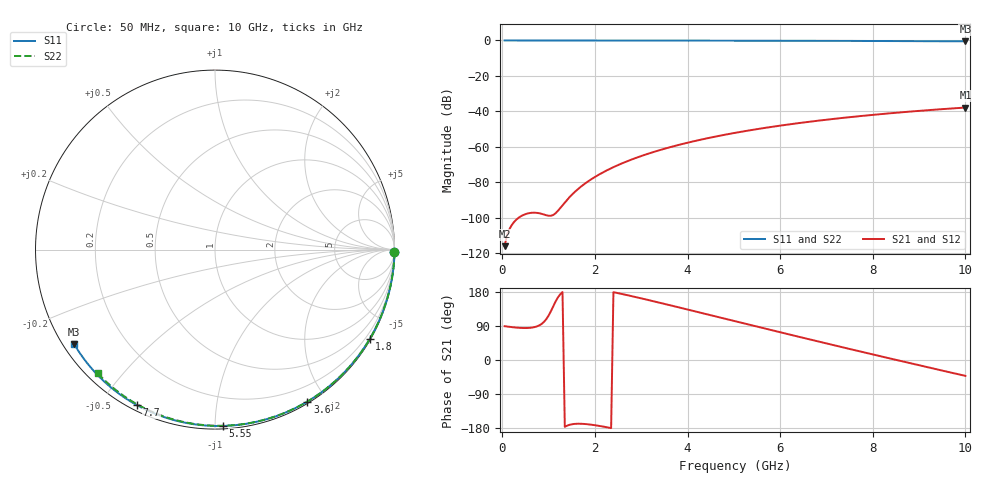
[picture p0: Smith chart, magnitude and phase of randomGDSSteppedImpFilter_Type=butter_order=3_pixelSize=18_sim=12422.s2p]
! freq	dB(S11)	phase(S11)	dB(S12)	phase(S12)
!  dB(S21)	phase(S21)	dB(S22)	phase(S22)
!S-par simulation data
#  GHz  S  DB  R 50
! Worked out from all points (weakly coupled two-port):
!   200 points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, 50 MHz to 10 GHz, reference 50 ohm
!   highest |S21| = -37.89 dB at 10 GHz (marker M1); lowest = -116.2 dB at 50 MHz (marker M2)
!   lowest |S11| = -0.5 dB at 10 GHz (marker M3), VSWR 35.21, Z = 1.55 - j15.2 ohm
!   |S11| at or under -10 dB: nowhere
!   |S22| runs from -0.5 to 0.0 dB; largest |S21 - S12| = 0
!   S11 on the Smith chart (normalised r, x): 50 MHz: open; 1.8 GHz: 0.03, -3.72; 3.6 GHz: 0.02, -1.78; 5.55 GHz: 0.02, -1.05; 7.7 GHz: 0.02, -0.62; 10 GHz: 0.03, -0.30
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0.05  -0.00 -0.9  -116.17 89.2  -116.17 89.2  -0.00 -0.8
0.45  -0.01 -7.6  -98.61 84.4  -98.61 84.4  -0.01 -6.9
0.9  -0.02 -15.2  -98.30 100.5  -98.30 100.5  -0.02 -13.8
1.3  -0.03 -21.9  -93.05 179.3  -93.05 179.3  -0.02 -19.8
1.75  -0.04 -29.3  -81.51 -168.6  -81.51 -168.6  -0.03 -26.5
1.8  -0.04 -30.1  -80.54 -169.0  -80.54 -169.0  -0.03 -27.3
1.85  -0.04 -30.9  -79.62 -169.6  -79.62 -169.6  -0.04 -28.0
2.05  -0.04 -34.2  -76.31 -173.0  -76.31 -173.0  -0.04 -31.0
2.2  -0.05 -36.6  -74.14 -176.2  -74.14 -176.2  -0.04 -33.2
2.55  -0.05 -42.3  -69.80 175.1  -69.80 175.1  -0.05 -38.3
2.95  -0.06 -48.6  -65.72 164.1  -65.72 164.1  -0.06 -44.1
3.4  -0.07 -55.6  -61.92 151.1  -61.92 151.1  -0.07 -50.5
3.6  -0.08 -58.7  -60.43 145.2  -60.43 145.2  -0.07 -53.3
4.3  -0.10 -69.3  -55.94 124.2  -55.94 124.2  -0.09 -63.0
5.05  -0.12 -80.3  -52.06 101.7  -52.06 101.7  -0.11 -73.1
5.55  -0.14 -87.4  -49.86 86.7  -49.86 86.7  -0.13 -79.7
6.1  -0.17 -95.1  -47.73 70.3  -47.73 70.3  -0.15 -86.7
6.7  -0.20 -103.3  -45.68 52.5  -45.68 52.5  -0.18 -94.3
7.7  -0.27 -116.5  -42.78 23.3  -42.78 23.3  -0.24 -106.5
8.35  -0.32 -125.0  -41.18 4.6  -41.18 4.6  -0.29 -114.2
9.2  -0.40 -135.9  -39.36 -19.5  -39.36 -19.5  -0.37 -124.2
10  -0.49 -146.2  -37.89 -41.9  -37.89 -41.9  -0.45 -133.4
